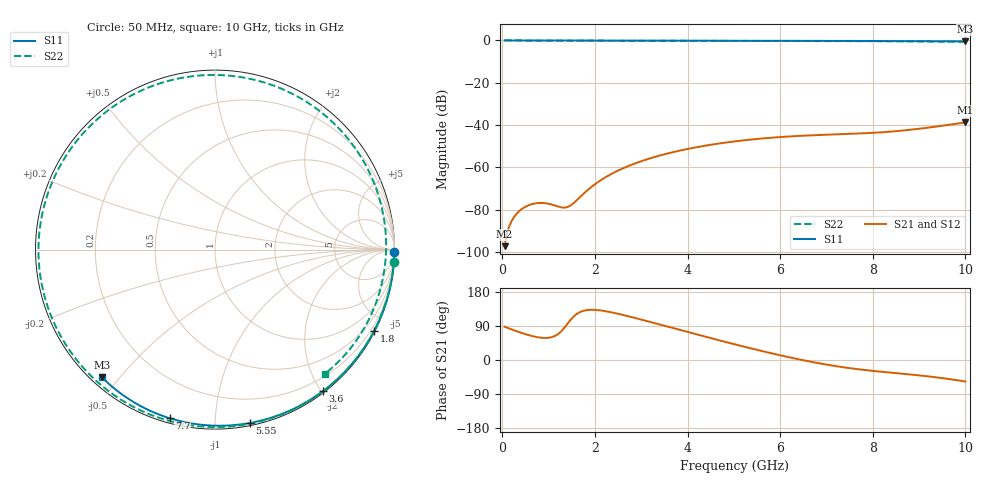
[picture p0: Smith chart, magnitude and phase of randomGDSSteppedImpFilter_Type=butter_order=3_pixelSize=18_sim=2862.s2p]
! freq	dB(S11)	phase(S11)	dB(S12)	phase(S12)
!  dB(S21)	phase(S21)	dB(S22)	phase(S22)
!S-par simulation data
#  GHz  S  DB  R 50
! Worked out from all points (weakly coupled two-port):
!   200 points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, 50 MHz to 10 GHz, reference 50 ohm
!   highest |S21| = -38.72 dB at 10 GHz (marker M1); lowest = -97.2 dB at 50 MHz (marker M2)
!   lowest |S11| = -0.4 dB at 10 GHz (marker M3), VSWR 39.04, Z = 1.54 - j22.5 ohm
!   |S11| at or under -10 dB: nowhere
!   |S22| runs from -0.7 to 0.0 dB; largest |S21 - S12| = 0
!   S11 on the Smith chart (normalised r, x): 50 MHz: open; 1.8 GHz: 0.04, -4.17; 3.6 GHz: 0.02, -2.02; 5.55 GHz: 0.02, -1.22; 7.7 GHz: 0.02, -0.77; 10 GHz: 0.03, -0.45
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0.05  -0.00 -0.8  -97.18 87.7  -97.18 87.7  -0.00 -4.0
0.4  -0.01 -6.1  -79.97 72.1  -79.97 72.1  -0.04 -31.3
0.5  -0.01 -7.6  -78.54 68.1  -78.54 68.1  -0.05 -38.8
0.9  -0.02 -13.6  -76.81 58.2  -76.81 58.2  -0.08 -67.2
1.15  -0.02 -17.3  -78.06 64.3  -78.06 64.3  -0.09 -83.4
1.4  -0.03 -21.0  -78.74 94.3  -78.74 94.3  -0.10 -98.2
1.75  -0.03 -26.2  -72.51 129.7  -72.51 129.7  -0.11 -117.0
1.8  -0.03 -26.9  -71.51 131.1  -71.51 131.1  -0.11 -119.5
2.15  -0.04 -32.1  -65.68 130.3  -65.68 130.3  -0.12 -136.1
2.55  -0.05 -37.8  -60.94 120.6  -60.94 120.6  -0.13 -153.1
2.95  -0.06 -43.6  -57.42 108.3  -57.42 108.3  -0.14 -168.6
3.4  -0.07 -49.9  -54.36 93.7  -54.36 93.7  -0.15 175.2
3.6  -0.07 -52.7  -53.22 87.1  -53.22 87.1  -0.15 168.3
4.3  -0.09 -62.2  -50.02 64.2  -50.02 64.2  -0.17 145.0
5.05  -0.11 -72.2  -47.60 40.4  -47.60 40.4  -0.20 120.6
5.55  -0.13 -78.7  -46.43 25.3  -46.43 25.3  -0.22 104.3
6.15  -0.15 -86.3  -45.41 8.4  -45.41 8.4  -0.24 84.4
6.7  -0.18 -93.1  -44.79 -5.4  -44.79 -5.4  -0.27 65.8
7.7  -0.24 -105.1  -43.96 -24.6  -43.96 -24.6  -0.33 31.3
8.35  -0.29 -112.7  -43.13 -32.9  -43.13 -32.9  -0.39 8.5
9.15  -0.36 -121.8  -41.31 -42.5  -41.31 -42.5  -0.50 -19.3
10  -0.45 -131.4  -38.72 -56.8  -38.72 -56.8  -0.69 -48.5
